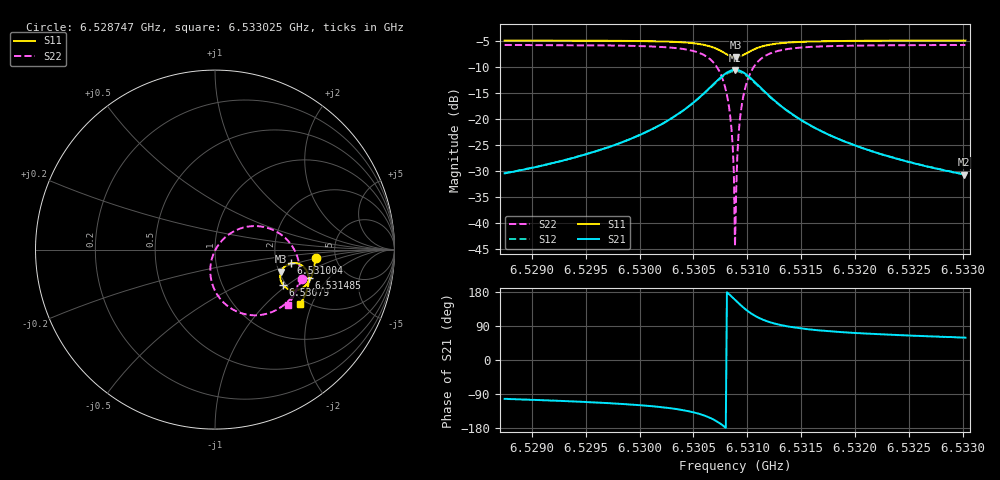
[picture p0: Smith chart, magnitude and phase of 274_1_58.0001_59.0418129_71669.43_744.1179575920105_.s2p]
#  HZ  S  RI  R  50.00
! Rohde & Schwarz Vector Network Analyzer
! Rohde-Schwarz,ZNB20-2Port,1311601062101988,3.16
! Created: UTC 3/21/2024, 1:02:35 AM
! freq[Hz]  re:S11  im:S11  re:S21  im:S21  re:S12  im:S12  re:S22  im:S22
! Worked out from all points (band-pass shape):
!   401 points, 6.528747 GHz to 6.533025 GHz, reference 50 ohm
!   highest |S21| = -10.62 dB at 6.530886 GHz (marker M1); lowest = -30.7 dB at 6.533015 GHz (marker M2)
!   |S21| within 3 dB of the highest: 6.530674 GHz to 6.531103 GHz (428.7 kHz wide, 0.00656 % of centre)
!   lowest |S11| = -8.2 dB at 6.530897 GHz (marker M3), VSWR 2.27, Z = 103 - j29.7 ohm
!   |S11| at or under -10 dB: nowhere
!   |S22| runs from -44.4 to -5.8 dB; largest |S21 - S12| = 0.011
!   S11 on the Smith chart (normalised r, x): 6.528747 GHz: 3.50, -0.47; 6.53079 GHz: 1.93, -0.93; 6.531004 GHz: 2.42, -0.45; 6.531485 GHz: 2.76, -1.26; 6.533025 GHz: 1.87, -1.65
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6.5287471e9  0.56 -0.0462  -0.0065 -0.0293  -0.00713 -0.0292  0.4847 -0.1612
6.5294637e9  0.5509 -0.1054  -0.0155 -0.0416  -0.0162 -0.0414  0.4547 -0.2253
6.5301803e9  0.5242 -0.1756  -0.0478 -0.0714  -0.0496 -0.0701  0.376 -0.3149
6.5306081e9  0.4564 -0.226  -0.1509 -0.0969  -0.1531 -0.0911  0.178 -0.3622
6.530715e9  0.4131 -0.2222  -0.2174 -0.0724  -0.2169 -0.0634  0.0651 -0.3103
6.5307899e9  0.3791 -0.1969  -0.2671 -0.017  -0.262 -0.00758  -0.00906 -0.2089
6.5308434e9  0.3643 -0.1628  -0.2844 0.0476  -0.2755 0.0548  -0.0258 -0.0993
6.5308541e9  0.3635 -0.1548  -0.2842 0.062  -0.2749 0.0684  -0.0229 -0.0755
6.5308648e9  0.3634 -0.1467  -0.2825 0.0769  -0.2728 0.0823  -0.0177 -0.0518
6.5308755e9  0.3643 -0.1385  -0.2794 0.0914  -0.2694 0.0959  -0.0101 -0.0286
6.5308862e9  0.366 -0.1305  -0.2749 0.1057  -0.2647 0.1093  -0.000172 -0.00599
6.5308969e9  0.3685 -0.1228  -0.269 0.1195  -0.2587 0.1223  0.0119 0.0155
6.5309076e9  0.3719 -0.1151  -0.2618 0.1327  -0.2515 0.1345  0.026 0.0355
6.5309183e9  0.3762 -0.1082  -0.2533 0.1448  -0.2432 0.1459  0.042 0.054
6.5309396e9  0.3864 -0.096  -0.2334 0.1662  -0.2242 0.1656  0.0782 0.0852
6.5310038e9  0.4245 -0.0761  -0.1643 0.2009  -0.1583 0.1979  0.198 0.13
6.5311642e9  0.4935 -0.0961  -0.0445 0.1753  -0.0427 0.1735  0.3951 0.0612
6.5314851e9  0.522 -0.1603  0.0106 0.0988  0.0117 0.0985  0.4709 -0.0973
6.5316027e9  0.5219 -0.1773  0.0146 0.083  0.0157 0.0828  0.4719 -0.1318
6.5323193e9  0.5031 -0.2495  0.0171 0.0399  0.0177 0.0396  0.4431 -0.2463
6.5330145e9  0.4767 -0.3013  0.0149 0.0251  0.0156 0.0249  0.4083 -0.3059
6.5330252e9  0.4763 -0.302  0.015 0.0251  0.0155 0.0248  0.4077 -0.3068
